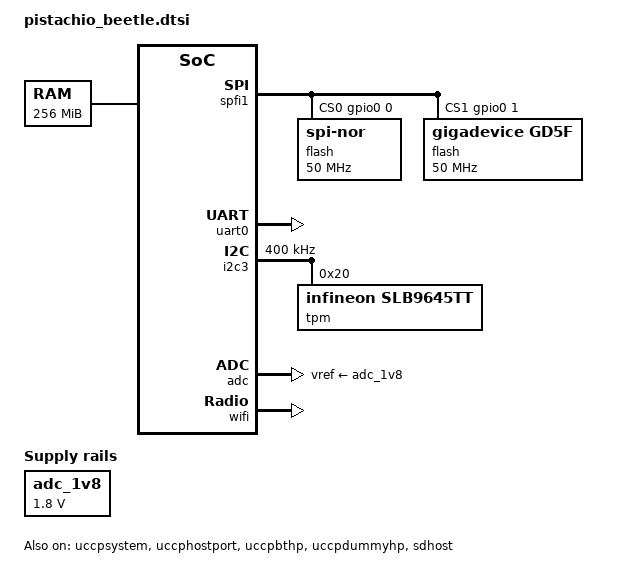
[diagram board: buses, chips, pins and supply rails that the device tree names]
/*
 * Copyright (C) 2015 Imagination Technologies Ltd.
 * Copyright (C) 2015 Google, Inc.
 *
 * This program is free software; you can redistribute it and/or modify
 * it under the terms of the GNU General Public License version 2 as
 * published by the Free Software Foundation.
 */

#include "pistachio.dtsi"

/ {
	memory {
		device_type = "memory";
		reg =  <0x00000000 0x10000000>;
	};


	adc_1v8: adc-regulator {
		compatible = "regulator-fixed";
		regulator-name = "1V8_ADC";
		regulator-min-microvolt = <1800000>;
		regulator-max-microvolt = <1800000>;
	};
};

&spfi1 {
	status = "okay";

	pinctrl-0 = <&spim1_pins>, <&spim1_quad_pins>;
	pinctrl-names = "default";
	cs-gpios = <&gpio0 0 GPIO_ACTIVE_HIGH>, <&gpio0 1 GPIO_ACTIVE_HIGH>;

	flash@0 {
		compatible = "jedec,spi-nor";
		reg = <0>;
		spi-max-frequency = <50000000>;
		linux,mtd-name = "spi-nor";
	};

	flash@1 {
		compatible = "gigadevice,gd5f";
		reg = <1>;
		spi-max-frequency = <50000000>;
		nand-on-flash-bbt;
		spi-rx-bus-width = <2>;
		#address-cells = <1>;
		#size-cells = <1>;
		linux,mtd-name = "spi-nand";
	};
};

&uccpsystem {
	status = "okay";
};

&uccphostport {
	status = "okay";
};

&uccpbthp {
	status = "okay";
};

&uccpdummyhp {
	status = "okay";
};

&uart0 {
	status = "okay";
	assigned-clock-rates = <114278400>, <1843200>;
};

&sdhost {
	status = "okay";

	bus-width = <4>;
	disable-wp;
};

&i2c3 {
	status = "okay";
	clock-frequency = <400000>;

	tpm@20 {
		compatible = "infineon,slb9645tt";
		reg = <0x20>;
	};
};

&adc {
	status = "okay";
	vref-supply = <&adc_1v8>;
	adc-reserved-channels = <0x10>;
};

&wifi {
	status = "okay";
	mac-address0 = [0123456789AC];
	mac-address1 = [0123456789AD];
	rf-params = [1A1f24292E33383C4045484D5157595D6165686C7076263D3135393C41454A4D505356595B5D5F6164676A23282C3135393D4145494D53565A5D616466686B6F20252b3134373c4144484d52555a5e62666a6f747923282c31363a3e4245494e51575b5f63666b71767a1a1f24292e33383c4045484d5055585b5e62666a7221252c3034383C41454A4D5156595C6064686D7277252a2e32373b3f43474b4f55585B5D606467696c7223272a3134393d4044494e52565a5d6165696d727425292f33383c4043474c5054595d6165696d73787c0B0B0B0B0B0B0B0B0B0B0B0B0B0B0B0B0B0B0B0B0B0B0B0B0B0B0B0B0B0B0B0B0B0B0B0B0B0B0B0B0B0B0B0B0B0B0B0B0B0B0B0B0B0B0B0B0B0B0B0B0B0B0B0B0B0B0B0B0B0B0B0B0B0B0B0B0B0B0B0B0B0B0B0B0B0B0B0B0B0B0B0B0B0B0B0B0B0B0B0B0B0B0B0B0B0B0B0B0B0B0B0B0B0B0B0B0B0B0B0B0B0B0B0B0B0B0B0B0B0B0B0B0B0B0B0B0B0B0B0B0B0B0B0B0B0B0B0B0B0B0B0B0B0B0B0B0B0B];
	num_streams = [02];
	io-channels = <&adc 4>;
};

